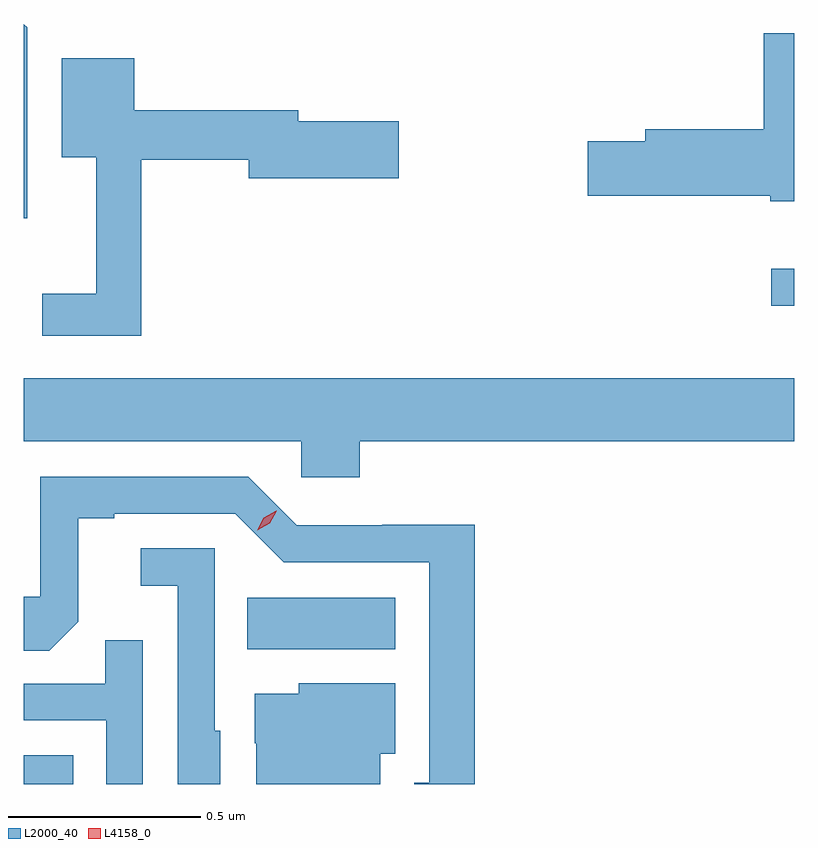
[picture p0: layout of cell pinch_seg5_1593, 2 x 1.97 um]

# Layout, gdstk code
import gdstk
lib = gdstk.Library(unit=1e-6, precision=1e-09)
def R(c, l, rs):  # rectangles x0, y0, x1, y1
    for r in rs: c.add(gdstk.rectangle(r[:2], r[2:], *l))
def P(c, l, *ps):  # polygons
    for p in ps: c.add(gdstk.Polygon(p, *l))
L2000_40 = (2000, 40)
L4158_0 = (4158, 0)

pinch_seg5_1593 = lib.new_cell('pinch_seg5_1593')
R(pinch_seg5_1593, L2000_40, [(303.954,861.198,304.082,861.273), (304.534,861.548,304.918,861.682), (305.895,862.44,305.954,862.536)])
P(pinch_seg5_1593, L2000_40, [(303.963,863.163),(303.954,863.172),(303.954,862.668),(303.963,862.668)],
  [(305.954,863.148),(305.876,863.148),(305.876,862.898),(305.567,862.898),(305.567,862.868),(305.418,862.868),(305.418,862.726),(305.892,862.726),(305.892,862.712),(305.954,862.712)],
  [(304.259,862.819),(304.538,862.819),(304.538,862.772),(304.927,862.772),(304.927,862.919),(304.666,862.919),(304.666,862.948),(304.24,862.948),(304.24,863.083),(304.052,863.083),(304.052,862.826),(304.142,862.826),(304.142,862.471),(304.002,862.471),(304.002,862.362),(304.259,862.362)],
  [(304.826,862.088),(305.954,862.088),(305.954,862.252),(303.954,862.252),(303.954,862.088),(304.674,862.088),(304.674,861.995),(304.826,861.995)],
  [(305.125,861.872),(304.884,861.872),(304.884,861.87),(304.662,861.87),(304.536,861.996),(303.996,861.996),(303.996,861.684),(303.954,861.684),(303.954,861.544),(304.019,861.544),(304.095,861.62),(304.095,861.888),(304.189,861.888),(304.189,861.9),(304.503,861.9),(304.629,861.774),(305.006,861.774),(305.006,861.201),(304.967,861.201),(304.967,861.198),(305.125,861.198)],
  [(304.464,861.336),(304.449,861.336),(304.449,861.81),(304.257,861.81),(304.257,861.713),(304.353,861.713),(304.353,861.198),(304.464,861.198)],
  [(304.263,861.572),(304.165,861.572),(304.165,861.459),(303.954,861.459),(303.954,861.363),(304.167,861.363),(304.167,861.198),(304.263,861.198)],
  [(304.879,861.276),(304.918,861.276),(304.918,861.46),(304.668,861.46),(304.668,861.433),(304.553,861.433),(304.553,861.304),(304.557,861.304),(304.557,861.198),(304.879,861.198)])
P(pinch_seg5_1593, L4158_0, [(304.56,861.857),(304.56,861.857),(304.577,861.889),(304.609,861.908),(304.61,861.908),(304.61,861.908),(304.592,861.875),(304.56,861.857)])

lib.write_gds('pinch_seg5_1593.gds')
